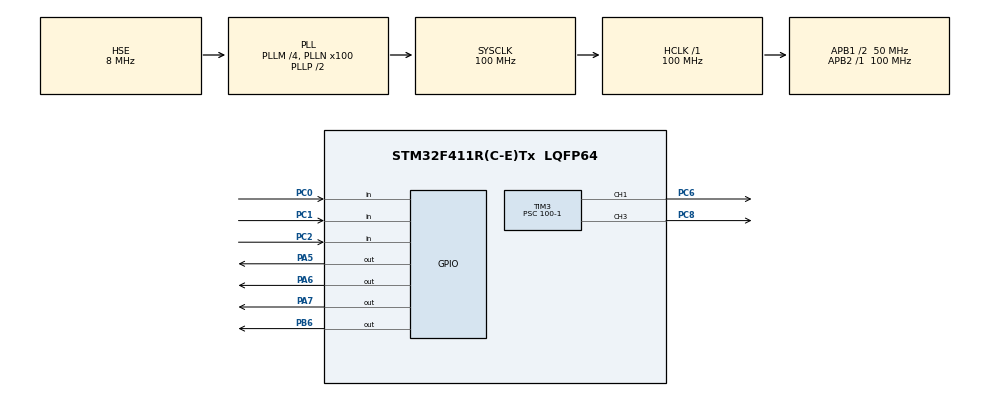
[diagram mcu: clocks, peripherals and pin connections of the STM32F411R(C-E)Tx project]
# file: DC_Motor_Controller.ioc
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Mcu.Family=STM32F4
Mcu.Name=STM32F411R(C-E)Tx
Mcu.Package=LQFP64
NVIC.PriorityGroup=NVIC_PRIORITYGROUP_4
PA13.Mode=Serial_Wire
PA13.Signal=SYS_JTMS-SWDIO
PA14.Mode=Serial_Wire
PA14.Signal=SYS_JTCK-SWCLK
PA5.Signal=GPIO_Output
PA6.Signal=GPIO_Output
PA7.Signal=GPIO_Output
PB6.Signal=GPIO_Output
PC0.GPIO_PuPd=GPIO_NOPULL
PC0.Signal=GPIO_Input
PC1.GPIO_PuPd=GPIO_NOPULL
PC1.Signal=GPIO_Input
PC2.GPIO_PuPd=GPIO_NOPULL
PC2.Signal=GPIO_Input
PC6.Signal=S_TIM3_CH1
PC8.Signal=S_TIM3_CH3
PH0\ -\ OSC_IN.Mode=HSE-External-Oscillator
PH0\ -\ OSC_IN.Signal=RCC_OSC_IN
PH1\ -\ OSC_OUT.Mode=HSE-External-Oscillator
PH1\ -\ OSC_OUT.Signal=RCC_OSC_OUT
ProjectManager.HeapSize=0x200
ProjectManager.StackSize=0x400
ProjectManager.TargetToolchain=STM32CubeIDE
RCC.48MHZClocksFreq_Value=50000000
RCC.AHBFreq_Value=100000000
RCC.APB1CLKDivider=RCC_HCLK_DIV2
RCC.APB1Freq_Value=50000000
RCC.APB1TimFreq_Value=100000000
RCC.APB2Freq_Value=100000000
RCC.APB2TimFreq_Value=100000000
RCC.CortexFreq_Value=100000000
RCC.HCLKFreq_Value=100000000
RCC.HSE_VALUE=8000000
RCC.HSI_VALUE=16000000
RCC.LSE_VALUE=32768
RCC.PLLM=4
RCC.PLLN=100
RCC.PLLSourceVirtual=RCC_PLLSOURCE_HSE
RCC.SYSCLKFreq_VALUE=100000000
RCC.SYSCLKSource=RCC_SYSCLKSOURCE_PLLCLK
RCC.VCOOutputFreq_Value=200000000
SH.S_TIM3_CH1.0=TIM3_CH1,PWM Generation1 CH1
SH.S_TIM3_CH3.0=TIM3_CH3,PWM Generation3 CH3
TIM3.AutoReloadPreload=TIM_AUTORELOAD_PRELOAD_ENABLE
TIM3.Channel-PWM\ Generation1\ CH1=TIM_CHANNEL_1
TIM3.Channel-PWM\ Generation3\ CH3=TIM_CHANNEL_3
TIM3.Period=1000-1
TIM3.Prescaler=100-1
VP_TIM3_VS_ClockSourceINT.Mode=Internal
board=custom

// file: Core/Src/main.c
/* USER CODE BEGIN Header */
/**
 ******************************************************************************
 * @file           : main.c
 * @brief          : Main program body
 ******************************************************************************
 * @attention
 *
 * Copyright (c) 2026 STMicroelectronics.
 * All rights reserved.
 *
 * This software is licensed under terms that can be found in the LICENSE file
 * in the root directory of this software component.
 * If no LICENSE file comes with this software, it is provided AS-IS.
 *
 ******************************************************************************
 */
/* USER CODE END Header */
#include "main.h"

/* USER CODE BEGIN Includes */
#include "driver/button/button.h"
#include "driver/dc_motor/dc_motor.h"

/* USER CODE END Includes */

TIM_HandleTypeDef htim3;

void SystemClock_Config(void);
static void MX_GPIO_Init(void);
static void MX_TIM3_Init(void);

/* USER CODE BEGIN 0 */
motor_state_t state = STOP;
motor_t motorR, motorL;
button_t btn_runstop, btn_right, btn_left;
/* USER CODE END 0 */

int main(void)
{

  /* MCU Configuration--------------------------------------------------------*/

  /* Reset of all peripherals, Initializes the Flash interface and the Systick. */
  HAL_Init();

  /* Configure the system clock */
  SystemClock_Config();

  /* Initialize all configured peripherals */
  MX_GPIO_Init();
  MX_TIM3_Init();
  /* USER CODE BEGIN 2 */

//	// 왼쪽 바퀴
//	// arr 0~999 중 ccr 900-1 == duty 비 90%
//	__HAL_TIM_SET_COMPARE(&htim3, TIM_CHANNEL_1, 300 - 1);
//	HAL_GPIO_WritePin(GPIOB, GPIO_PIN_6, GPIO_PIN_SET);
//	HAL_GPIO_WritePin(GPIOA, GPIO_PIN_7, GPIO_PIN_RESET);
//
//	// 오른쪽 바퀴
//	__HAL_TIM_SET_COMPARE(&htim3, TIM_CHANNEL_3, 300 - 1);
//	HAL_GPIO_WritePin(GPIOA, GPIO_PIN_5, GPIO_PIN_SET);
//	HAL_GPIO_WritePin(GPIOA, GPIO_PIN_6, GPIO_PIN_RESET);
//
//	HAL_TIM_PWM_Start(&htim3, TIM_CHANNEL_1);
//	HAL_TIM_PWM_Start(&htim3, TIM_CHANNEL_3);
	button_init(&btn_runstop, GPIOC, GPIO_PIN_0);
	button_init(&btn_left, GPIOC, GPIO_PIN_1);
	button_init(&btn_right, GPIOC, GPIO_PIN_2);

	motor_init(&motorL, &htim3, TIM_CHANNEL_1, MOTOR_LEFT1_GPIO,
	MOTOR_LEFT1_PIN, MOTOR_LEFT2_GPIO, MOTOR_LEFT2_PIN);
	motor_init(&motorR, &htim3, TIM_CHANNEL_3, MOTOR_RIGHT1_GPIO,
	MOTOR_RIGHT1_PIN, MOTOR_RIGHT2_GPIO, MOTOR_RIGHT2_PIN);
	motor_setSpeed(900);

  /* USER CODE END 2 */

  /* Infinite loop */
  /* USER CODE BEGIN WHILE */
	button_state_t state_runstop, state_right, state_left;
	while (1) {
		state_runstop = button_getState(&btn_runstop);
		state_right = button_getState(&btn_right);
		state_left = button_getState(&btn_left);

		switch (state) {
		case STOP:
			if (state_runstop == ACT_RELEASE) {
				state = FORWARD;
			}
			motor_stop();
			break;
		case FORWARD:
			if (state_runstop == ACT_RELEASE) {
				state = STOP;
			} else if (state_right == ACT_RELEASE) {
				state = RIGHT;
			} else if (state_left == ACT_RELEASE) {
				state = LEFT;
			}

			motor_forward();
			break;
		case BACKWARD:
			if (state_runstop == ACT_RELEASE) {
				state = STOP;
			} else if (state_right == ACT_RELEASE) {
				state = FORWARD;
			} else if (state_left == ACT_RELEASE) {
				state = FORWARD;
			}

			motor_backward();
			break;
		case RIGHT:
			if (state_runstop == ACT_RELEASE) {
				state = STOP;
			} else if (state_right == ACT_RELEASE) {
				state = BACKWARD;
			}

			motor_right();
			break;
		case LEFT:
			if (state_runstop == ACT_RELEASE) {
				state = STOP;
			} else if (state_left == ACT_RELEASE) {
				state = BACKWARD;
			}

			motor_left();
			break;
		default:
			break;
		}
    /* USER CODE END WHILE */

	}
}

void SystemClock_Config(void)
{
  RCC_OscInitTypeDef RCC_OscInitStruct = {0};
  RCC_ClkInitTypeDef RCC_ClkInitStruct = {0};

  /** Configure the main internal regulator output voltage
  */
  __HAL_RCC_PWR_CLK_ENABLE();
  __HAL_PWR_VOLTAGESCALING_CONFIG(PWR_REGULATOR_VOLTAGE_SCALE1);

  /** Initializes the RCC Oscillators according to the specified parameters
  * in the RCC_OscInitTypeDef structure.
  */
  RCC_OscInitStruct.OscillatorType = RCC_OSCILLATORTYPE_HSE;
  RCC_OscInitStruct.HSEState = RCC_HSE_ON;
  RCC_OscInitStruct.PLL.PLLState = RCC_PLL_ON;
  RCC_OscInitStruct.PLL.PLLSource = RCC_PLLSOURCE_HSE;
  RCC_OscInitStruct.PLL.PLLM = 4;
  RCC_OscInitStruct.PLL.PLLN = 100;
  RCC_OscInitStruct.PLL.PLLP = RCC_PLLP_DIV2;
  RCC_OscInitStruct.PLL.PLLQ = 4;
  if (HAL_RCC_OscConfig(&RCC_OscInitStruct) != HAL_OK)
  {
    Error_Handler();
  }

  /** Initializes the CPU, AHB and APB buses clocks
  */
  RCC_ClkInitStruct.ClockType = RCC_CLOCKTYPE_HCLK|RCC_CLOCKTYPE_SYSCLK
                              |RCC_CLOCKTYPE_PCLK1|RCC_CLOCKTYPE_PCLK2;
  RCC_ClkInitStruct.SYSCLKSource = RCC_SYSCLKSOURCE_PLLCLK;
  RCC_ClkInitStruct.AHBCLKDivider = RCC_SYSCLK_DIV1;
  RCC_ClkInitStruct.APB1CLKDivider = RCC_HCLK_DIV2;
  RCC_ClkInitStruct.APB2CLKDivider = RCC_HCLK_DIV1;

  if (HAL_RCC_ClockConfig(&RCC_ClkInitStruct, FLASH_LATENCY_3) != HAL_OK)
  {
    Error_Handler();
  }
}

static void MX_TIM3_Init(void)
{

  TIM_ClockConfigTypeDef sClockSourceConfig = {0};
  TIM_MasterConfigTypeDef sMasterConfig = {0};
  TIM_OC_InitTypeDef sConfigOC = {0};

  htim3.Instance = TIM3;
  htim3.Init.Prescaler = 100-1;
  htim3.Init.CounterMode = TIM_COUNTERMODE_UP;
  htim3.Init.Period = 1000-1;
  htim3.Init.ClockDivision = TIM_CLOCKDIVISION_DIV1;
  htim3.Init.AutoReloadPreload = TIM_AUTORELOAD_PRELOAD_ENABLE;
  if (HAL_TIM_Base_Init(&htim3) != HAL_OK)
  {
    Error_Handler();
  }
  sClockSourceConfig.ClockSource = TIM_CLOCKSOURCE_INTERNAL;
  if (HAL_TIM_ConfigClockSource(&htim3, &sClockSourceConfig) != HAL_OK)
  {
    Error_Handler();
  }
  if (HAL_TIM_PWM_Init(&htim3) != HAL_OK)
  {
    Error_Handler();
  }
  sMasterConfig.MasterOutputTrigger = TIM_TRGO_RESET;
  sMasterConfig.MasterSlaveMode = TIM_MASTERSLAVEMODE_DISABLE;
  if (HAL_TIMEx_MasterConfigSynchronization(&htim3, &sMasterConfig) != HAL_OK)
  {
    Error_Handler();
  }
  sConfigOC.OCMode = TIM_OCMODE_PWM1;
  sConfigOC.Pulse = 0;
  sConfigOC.OCPolarity = TIM_OCPOLARITY_HIGH;
  sConfigOC.OCFastMode = TIM_OCFAST_DISABLE;
  if (HAL_TIM_PWM_ConfigChannel(&htim3, &sConfigOC, TIM_CHANNEL_1) != HAL_OK)
  {
    Error_Handler();
  }
  if (HAL_TIM_PWM_ConfigChannel(&htim3, &sConfigOC, TIM_CHANNEL_3) != HAL_OK)
  {
    Error_Handler();
  }
  HAL_TIM_MspPostInit(&htim3);

}

static void MX_GPIO_Init(void)
{
  GPIO_InitTypeDef GPIO_InitStruct = {0};

  /* GPIO Ports Clock Enable */
  __HAL_RCC_GPIOH_CLK_ENABLE();
  __HAL_RCC_GPIOC_CLK_ENABLE();
  __HAL_RCC_GPIOA_CLK_ENABLE();
  __HAL_RCC_GPIOB_CLK_ENABLE();

  /*Configure GPIO pin Output Level */
  HAL_GPIO_WritePin(GPIOA, GPIO_PIN_5|GPIO_PIN_6|GPIO_PIN_7, GPIO_PIN_RESET);

  /*Configure GPIO pin Output Level */
  HAL_GPIO_WritePin(GPIOB, GPIO_PIN_6, GPIO_PIN_RESET);

  /*Configure GPIO pins : PC0 PC1 PC2 */
  GPIO_InitStruct.Pin = GPIO_PIN_0|GPIO_PIN_1|GPIO_PIN_2;
  GPIO_InitStruct.Mode = GPIO_MODE_INPUT;
  GPIO_InitStruct.Pull = GPIO_NOPULL;
  HAL_GPIO_Init(GPIOC, &GPIO_InitStruct);

  /*Configure GPIO pins : PA5 PA6 PA7 */
  GPIO_InitStruct.Pin = GPIO_PIN_5|GPIO_PIN_6|GPIO_PIN_7;
  GPIO_InitStruct.Mode = GPIO_MODE_OUTPUT_PP;
  GPIO_InitStruct.Pull = GPIO_NOPULL;
  GPIO_InitStruct.Speed = GPIO_SPEED_FREQ_LOW;
  HAL_GPIO_Init(GPIOA, &GPIO_InitStruct);

  /*Configure GPIO pin : PB6 */
  GPIO_InitStruct.Pin = GPIO_PIN_6;
  GPIO_InitStruct.Mode = GPIO_MODE_OUTPUT_PP;
  GPIO_InitStruct.Pull = GPIO_NOPULL;
  GPIO_InitStruct.Speed = GPIO_SPEED_FREQ_LOW;
  HAL_GPIO_Init(GPIOB, &GPIO_InitStruct);

}

void Error_Handler(void)
{
	__disable_irq();
	while (1) {
	}
}
